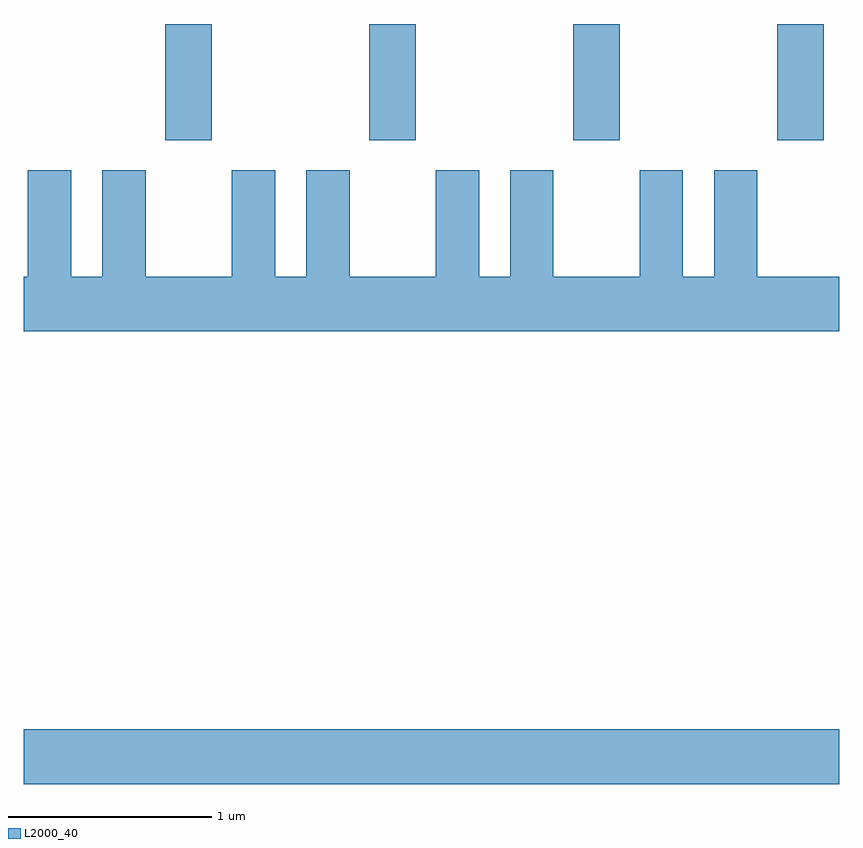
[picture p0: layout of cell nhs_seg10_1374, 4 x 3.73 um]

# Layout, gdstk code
import gdstk
lib = gdstk.Library(unit=1e-6, precision=1e-09)
def R(c, l, rs):  # rectangles x0, y0, x1, y1
    for r in rs: c.add(gdstk.rectangle(r[:2], r[2:], *l))
def A(c, l, x, y, w, h, nx, ny, dx, dy):  # array of equal rectangles
    R(c, l, [(x+i*dx, y+j*dy, x+i*dx+w, y+j*dy+h) for i in range(nx) for j in range(ny)])
def P(c, l, *ps):  # polygons
    for p in ps: c.add(gdstk.Polygon(p, *l))
L2000_40 = (2000, 40)

nhs_seg10_1374 = lib.new_cell('nhs_seg10_1374')
A(nhs_seg10_1374, L2000_40, 226.306, 2125.951, 0.228, 0.571, 4, 1, 1, 0)
R(nhs_seg10_1374, L2000_40, [(225.611,2122.796,229.611,2123.064)])
P(nhs_seg10_1374, L2000_40, [(229.611,2125.284),(229.209,2125.284),(229.209,2125.804),(228.996,2125.804),(228.996,2125.284),(228.844,2125.284),(228.844,2125.804),(228.631,2125.804),(228.631,2125.284),(228.209,2125.284),(228.209,2125.804),(227.996,2125.804),(227.996,2125.284),(227.844,2125.284),(227.844,2125.804),(227.631,2125.804),(227.631,2125.284),(227.209,2125.284),(227.209,2125.804),(226.996,2125.804),(226.996,2125.284),(226.844,2125.284),(226.844,2125.804),(226.631,2125.804),(226.631,2125.284),(226.209,2125.284),(226.209,2125.804),(225.996,2125.804),(225.996,2125.284),(225.844,2125.284),(225.844,2125.804),(225.631,2125.804),(225.631,2125.284),(225.611,2125.284),(225.611,2125.016),(229.611,2125.016)])

lib.write_gds('nhs_seg10_1374.gds')
